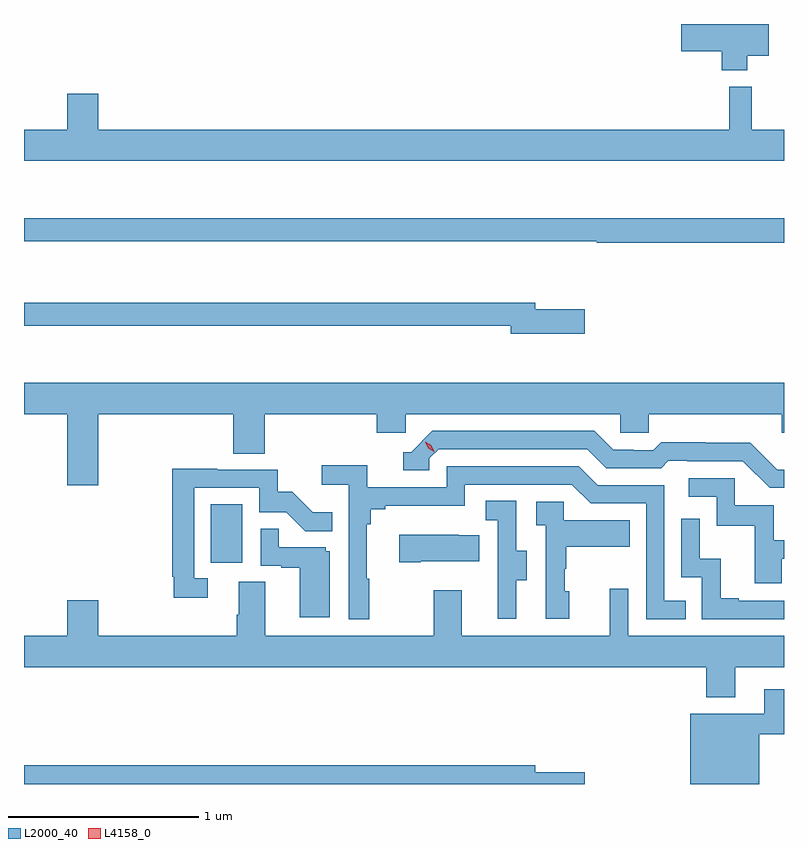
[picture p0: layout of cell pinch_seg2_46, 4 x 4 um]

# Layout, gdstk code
import gdstk
lib = gdstk.Library(unit=1e-6, precision=1e-09)
def R(c, l, rs):  # rectangles x0, y0, x1, y1
    for r in rs: c.add(gdstk.rectangle(r[:2], r[2:], *l))
def P(c, l, *ps):  # polygons
    for p in ps: c.add(gdstk.Polygon(p, *l))
L2000_40 = (2000, 40)
L4158_0 = (4158, 0)

pinch_seg2_46 = lib.new_cell('pinch_seg2_46')
R(pinch_seg2_46, L2000_40, [(1016.912,654.846,1017.076,655.153)])
P(pinch_seg2_46, L2000_40, [(1019.734,657.515),(1019.848,657.515),(1019.848,657.681),(1019.388,657.681),(1019.388,657.538),(1019.6,657.538),(1019.6,657.437),(1019.734,657.437)],
  [(1019.928,657.124),(1019.759,657.124),(1019.759,657.352),(1019.641,657.352),(1019.641,657.124),(1016.32,657.124),(1016.32,657.313),(1016.156,657.313),(1016.156,657.124),(1015.928,657.124),(1015.928,656.96),(1019.928,656.96)],
  [(1019.928,656.659),(1015.928,656.659),(1015.928,656.538),(1018.942,656.538),(1018.942,656.53),(1019.928,656.53)],
  [(1018.879,656.181),(1018.618,656.181),(1018.618,656.215),(1015.928,656.215),(1015.928,656.094),(1018.49,656.094),(1018.49,656.051),(1018.879,656.051)],
  [(1016.32,655.628),(1017.029,655.628),(1017.029,655.42),(1017.194,655.42),(1017.194,655.628),(1017.785,655.628),(1017.785,655.53),(1017.936,655.53),(1017.936,655.628),(1019.067,655.628),(1019.067,655.53),(1019.217,655.53),(1019.217,655.628),(1019.915,655.628),(1019.915,655.53),(1019.928,655.53),(1019.928,655.792),(1015.928,655.792),(1015.928,655.628),(1016.156,655.628),(1016.156,655.254),(1016.32,655.254)],
  [(1019.928,655.335),(1019.892,655.335),(1019.75,655.477),(1019.514,655.477),(1019.514,655.48),(1019.281,655.48),(1019.239,655.437),(1019.136,655.437),(1019.136,655.44),(1019.029,655.44),(1018.93,655.539),(1018.077,655.539),(1017.966,655.428),(1017.923,655.428),(1017.923,655.332),(1018.062,655.332),(1018.062,655.395),(1018.11,655.443),(1018.893,655.443),(1018.992,655.344),(1019.281,655.344),(1019.32,655.383),(1019.419,655.383),(1019.419,655.38),(1019.712,655.38),(1019.853,655.239),(1019.928,655.239)],
  [(1017.745,654.761),(1017.733,654.761),(1017.733,655.049),(1017.752,655.049),(1017.752,655.126),(1017.829,655.126),(1017.829,655.145),(1018.248,655.145),(1018.248,655.257),(1018.812,655.257),(1018.911,655.158),(1019.202,655.158),(1019.202,654.549),(1019.411,654.549),(1019.411,654.645),(1019.298,654.645),(1019.298,655.254),(1018.948,655.254),(1018.849,655.353),(1018.152,655.353),(1018.152,655.242),(1017.734,655.242),(1017.734,655.358),(1017.495,655.358),(1017.495,655.256),(1017.636,655.256),(1017.636,654.549),(1017.745,654.549)],
  [(1016.896,654.765),(1016.823,654.765),(1016.823,655.239),(1017.165,655.239),(1017.165,655.11),(1017.309,655.11),(1017.407,655.012),(1017.551,655.012),(1017.551,655.111),(1017.447,655.111),(1017.34,655.218),(1017.264,655.218),(1017.264,655.335),(1016.945,655.335),(1016.945,655.34),(1016.707,655.34),(1016.707,654.772),(1016.715,654.772),(1016.715,654.66),(1016.896,654.66)],
  [(1019.917,654.867),(1019.928,654.867),(1019.928,654.963),(1019.875,654.963),(1019.875,655.149),(1019.67,655.149),(1019.67,655.29),(1019.427,655.29),(1019.427,655.194),(1019.574,655.194),(1019.574,655.041),(1019.773,655.041),(1019.773,654.738),(1019.917,654.738)],
  [(1018.519,654.754),(1018.573,654.754),(1018.573,654.909),(1018.518,654.909),(1018.518,655.172),(1018.359,655.172),(1018.359,655.069),(1018.422,655.069),(1018.422,654.765),(1018.421,654.765),(1018.421,654.552),(1018.519,654.552)],
  [(1018.798,654.696),(1018.773,654.696),(1018.773,654.815),(1018.783,654.815),(1018.783,654.929),(1019.117,654.929),(1019.117,655.069),(1018.77,655.069),(1018.77,655.167),(1018.623,655.167),(1018.623,655.043),(1018.674,655.043),(1018.674,654.552),(1018.798,654.552)],
  [(1019.928,654.645),(1019.689,654.645),(1019.689,654.658),(1019.594,654.658),(1019.594,654.866),(1019.484,654.866),(1019.484,655.078),(1019.388,655.078),(1019.388,654.768),(1019.496,654.768),(1019.496,654.549),(1019.928,654.549)],
  [(1017.538,654.906),(1017.516,654.906),(1017.516,654.927),(1017.269,654.927),(1017.269,655.025),(1017.174,655.025),(1017.174,654.831),(1017.281,654.831),(1017.281,654.819),(1017.38,654.819),(1017.38,654.558),(1017.538,654.558)],
  [(1018.015,654.854),(1018.325,654.854),(1018.325,654.991),(1018.217,654.991),(1018.217,654.994),(1017.903,654.994),(1017.903,654.847),(1018.015,654.847)],
  [(1019.671,654.296),(1019.928,654.296),(1019.928,654.46),(1019.109,654.46),(1019.109,654.709),(1019.012,654.709),(1019.012,654.46),(1018.231,654.46),(1018.231,654.7),(1018.084,654.7),(1018.084,654.46),(1017.199,654.46),(1017.199,654.746),(1017.059,654.746),(1017.059,654.572),(1017.047,654.572),(1017.047,654.46),(1016.32,654.46),(1016.32,654.649),(1016.156,654.649),(1016.156,654.46),(1015.928,654.46),(1015.928,654.296),(1019.519,654.296),(1019.519,654.137),(1019.671,654.137)],
  [(1019.797,653.943),(1019.928,653.943),(1019.928,654.181),(1019.825,654.181),(1019.825,654.052),(1019.435,654.052),(1019.435,653.681),(1019.797,653.681)],
  [(1018.879,653.744),(1018.618,653.744),(1018.618,653.78),(1015.928,653.78),(1015.928,653.681),(1018.879,653.681)])
P(pinch_seg2_46, L4158_0, [(1018.087,655.43),(1018.056,655.449),(1018.04,655.482),(1018.04,655.482),(1018.04,655.482),(1018.071,655.463),(1018.087,655.43),(1018.087,655.43)])

lib.write_gds('pinch_seg2_46.gds')
